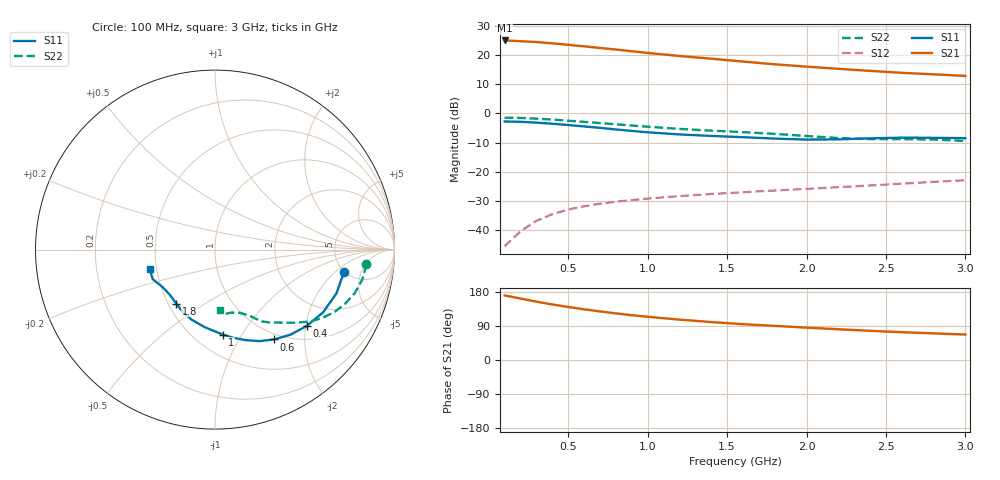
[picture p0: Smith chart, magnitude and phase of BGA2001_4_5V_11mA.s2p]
! Title: BGA2001
! Bias: Vce=4.5V,Ic=11.0mA
! Company: Philips Semiconductors NL
! User: Quality&Reliability T&D
! Measure time: 23 Oct 1998 / 09:22:01
#  MHz  S  MA  R 50
! Freq  S11  S21  S12  S22  :
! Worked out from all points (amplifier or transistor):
!   20 points, 100 MHz to 3 GHz, reference 50 ohm
!   highest |S21| = 25.1 dB at 100 MHz (marker M1)
!   |S21| within 3 dB of that: start of sweep to 778.5 MHz
!   unconditionally stable (mu >= 1): 1.682 GHz to end of sweep
!   at 400 MHz: K = 0.44, MSG = 29.4 dB, |S12| = -34.6 dB
!   at 1.2 GHz: K = 0.80, MSG = 24.1 dB, |S12| = -28.4 dB
!   at 3 GHz: K = 1.25, MAG = 14.9 dB, |S12| = -23.0 dB
!   S11 on the Smith chart (normalised r, x): 100 MHz: 4.93, -2.63; 400 MHz: 1.33, -2.03; 600 MHz: 0.91, -1.43; 1 GHz: 0.68, -0.83; 1.8 GHz: 0.55, -0.38; 3 GHz: 0.46, -0.12
100  0.7291 -9.9  17.99 170.5  0.005239 61.8  0.8471 -5.6
200  0.7195 -19.8  17.47 162.2  0.009434 71.1  0.838 -11.4
300  0.6965 -30.0  16.9 154.0  0.01429 71.3  0.8153 -17.4
400  0.6657 -39.6  16.07 146.6  0.01855 68.9  0.7847 -22.7
500  0.6337 -48.4  15.13 139.9  0.02231 66.2  0.7516 -27.4
600  0.5989 -56.7  14.27 133.8  0.02538 63.9  0.7175 -31.5
700  0.5661 -64.3  13.37 128.2  0.02813 62.1  0.6848 -34.9
800  0.5315 -71.6  12.57 123.0  0.03045 60.4  0.6523 -38.0
900  0.5018 -78.3  11.74 118.2  0.03246 59.5  0.6213 -40.8
1000  0.4751 -84.8  10.99 114.0  0.03446 58.8  0.5924 -43.5
1200  0.4364 -97.4  9.735 106.5  0.038 58.2  0.543 -48.5
1400  0.4114 -108.5  8.747 100.2  0.04126 58.1  0.5074 -53.2
1600  0.3914 -117.3  7.81 94.6  0.04425 58.9  0.478 -56.8
1800  0.3702 -125.7  6.999 90.0  0.04742 60.5  0.4464 -59.5
2000  0.3558 -135.3  6.384 85.5  0.05062 61.2  0.4098 -63.1
2200  0.359 -144.6  5.863 81.2  0.05407 61.5  0.3786 -68.6
2400  0.3736 -151.0  5.399 77.0  0.05785 62.4  0.3632 -75.1
2600  0.3842 -154.7  4.999 73.3  0.06211 63.8  0.3624 -80.0
2800  0.3816 -158.3  4.713 70.2  0.06673 64.0  0.3568 -82.8
3000  0.376 -163.4  4.425 67.2  0.07114 64.5  0.3365 -85.5
